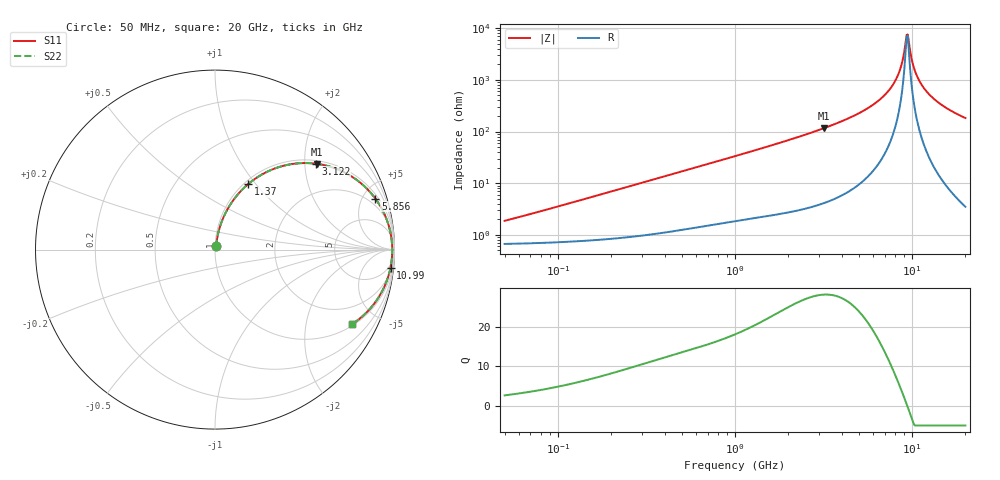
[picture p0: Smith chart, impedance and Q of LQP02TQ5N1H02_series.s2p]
!Murata Part Number: LQP02TQ5N1H02
!These Parameters are Measured in Series Mode Connection
!  o--[Z]--o
!Port1  Port2
!  o-------o
!Freq. Start=50[MHz] Stop=20[GHz], 401[Steps]
# Hz S RI R 50
!Freq.(Hz) S11(Real) S11(Imag) S21(Real) S21(Imag) S12(Real) S12(Imag) S22(Real) S22(Imag)
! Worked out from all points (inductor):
!   401 points, 50 MHz to 20 GHz, reference 50 ohm
!   read as one part in series: L = 5.55 nH near 58.08 MHz
!   highest Q = 28.1 at 3.169 GHz (marker M1), where L = 5.8 nH
!   self-resonance near 9.317 GHz
!   S11 on the Smith chart (normalised r, x): 50 MHz: 1.01, +0.04; 1.37 GHz: 1.04, +0.91; 3.122 GHz: 1.08, +2.27; 5.856 GHz: 1.31, +6.17; 10.99 GHz: 3, -19; 20 GHz: 1.07, -3.64
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5e7  0.00695 0.0173  0.993 -0.0173  0.993 -0.0173  0.00695 0.0173
1.364002e8  0.00974 0.0463  0.9903 -0.0463  0.9903 -0.0463  0.00974 0.0463
3.721004e8  0.0258 0.1217  0.9742 -0.1217  0.9742 -0.1217  0.0258 0.1217
1e9  0.113 0.2901  0.887 -0.2901  0.887 -0.2901  0.113 0.2901
1.369645e9  0.1847 0.3649  0.8153 -0.3649  0.8153 -0.3649  0.1847 0.3649
2.728004e9  0.4825 0.4819  0.5175 -0.4819  0.5175 -0.4819  0.4825 0.4819
3.121702e9  0.5607 0.4788  0.4393 -0.4788  0.4393 -0.4788  0.5607 0.4788
3.168813e9  0.5696 0.4777  0.4304 -0.4777  0.4304 -0.4777  0.5696 0.4777
4.472136e9  0.7683 0.4031  0.2317 -0.4031  0.2317 -0.4031  0.7683 0.4031
5.856089e9  0.8935 0.2844  0.1065 -0.2844  0.1065 -0.2844  0.8935 0.2844
7.442007e9  0.9638 0.1473  0.0362 -0.1473  0.0362 -0.1473  0.9638 0.1473
8.020766e9  0.9764 0.1008  0.0236 -0.1008  0.0236 -0.1008  0.9764 0.1008
8.516016e9  0.9832 0.0628  0.0168 -0.0628  0.0168 -0.0628  0.9832 0.0628
8.774992e9  0.9854 0.0436  0.0146 -0.0436  0.0146 -0.0436  0.9854 0.0436
9.178299e9  0.9874 0.0148  0.0126 -0.0148  0.0126 -0.0148  0.9874 0.0148
9.316812e9  0.9876 0.00511  0.0124 -0.00511  0.0124 -0.00511  0.9876 0.00511
9.600142e9  0.9876 -0.0142  0.0124 0.0142  0.0124 0.0142  0.9876 -0.0142
1.019291e10  0.9852 -0.0528  0.0148 0.0528  0.0148 0.0528  0.9852 -0.0528
1.098561e10  0.978 -0.1006  0.022 0.1006  0.022 0.1006  0.978 -0.1006
1.201863e10  0.9631 -0.1568  0.0369 0.1568  0.0369 0.1568  0.9631 -0.1568
1.375312e10  0.9284 -0.2371  0.0716 0.2371  0.0716 0.2371  0.9284 -0.2371
2e10  0.7644 -0.4149  0.2356 0.4149  0.2356 0.4149  0.7644 -0.4149
